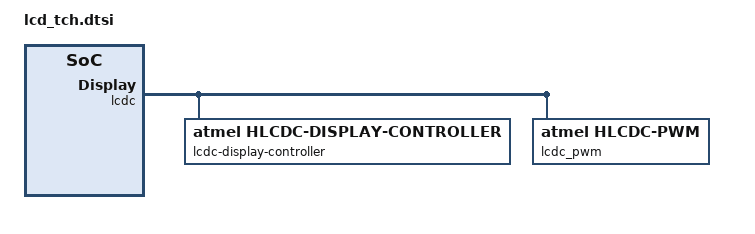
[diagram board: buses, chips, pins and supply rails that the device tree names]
/* microElk */
/ {
    ahb { /* Advanced high-speed bus */
        apb { /* Advanced peripheral bus */
            lcdc: lcdc@f0000000 { /* LCD Controller */
                compatible  = "atmel,sama5d2-hlcdc";
                clocks      =   <&lcdc_clk>,
                                <&lcdck>,
                                <&slck>;
                clock-names =   "periph_clk",
                                "sys_clk",
                                "slow_clk";
                lcdc-display-controller {
                    compatible      = "atmel,hlcdc-display-controller";
                    #address-cells  = <1>;
                    #size-cells     = <0>;
                    port@0 {
                        #address-cells  = <1>;
                        #size-cells     = <0>;
                        reg             = <0>;
                    }; /* port@0 */
                }; /* hlcdc-display-controller */
                lcdc_pwm: hlcdc-pwm {
                    compatible  = "atmel,hlcdc-pwm";
                    #pwm-cells  = <3>;
                }; /* lcdc_pwm */
            }; /* lcdc */
            ptc@fc060000 { /* Peripheral Touch Controller */
                compatible  = "atmel,sama5d2-ptc";
                clocks      =   <&ptc_clk>,
                                <&mainck>,
                                <&slck>;
                clock-names =   "ptc_clk",
                                "ptc_int_osc",
                                "slow_clk";
            }; /* ptc */
        }; /* apb */
    }; /* ahb */
}; /* / */
